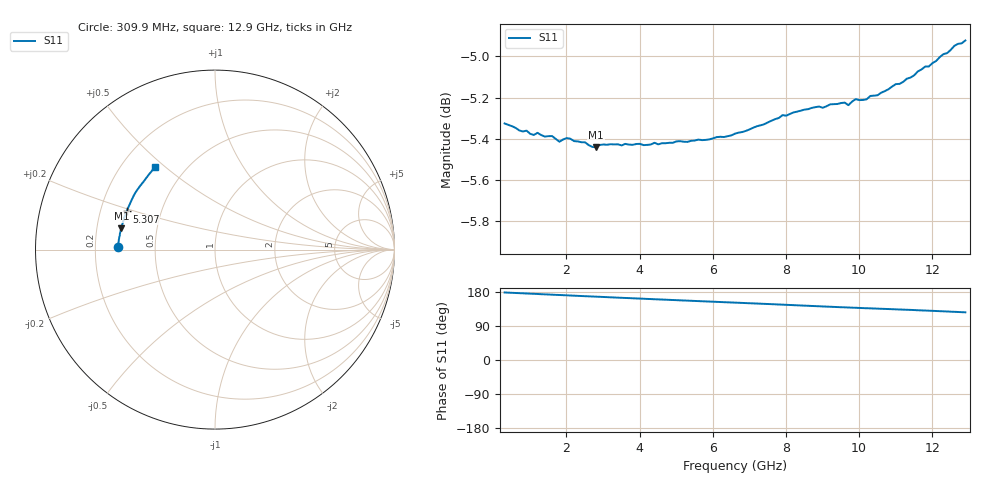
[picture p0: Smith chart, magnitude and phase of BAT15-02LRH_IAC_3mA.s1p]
! Infineon Technologies  Discrete & RF Semiconductors
! BAT15-02LRH
! IAC = 3 mA
! One-Port S-Parameters
# Hz  S  MA  R  50
!f  S11
!Hz  Mag  Ang
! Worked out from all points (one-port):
!   127 points, 309.9 MHz to 12.9 GHz, reference 50 ohm
!   lowest |S11| = -5.4 dB at 2.809 GHz (marker M1), VSWR 3.30, Z = 15.3 + j5.09 ohm
!   |S11| at or under -10 dB: nowhere
!   S11 on the Smith chart (normalised r, x): 309.9 MHz: 0.30, +0.01; 5.307 GHz: 0.31, +0.19; 12.9 GHz: 0.34, +0.46
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3.0985e8  0.5416 178.2
6.097e8  0.5403 176.8
1.10945e9  0.5381 174.7
1.2094e9  0.5388 174.2
1.70915e9  0.5369 171.9
1.90905e9  0.5368 171.1
2.50875e9  0.5359 168.4
2.8086e9  0.5345 167.2
2.90855e9  0.5351 166.8
3.50825e9  0.535 164.1
4.008e9  0.5355 162.1
5.10745e9  0.5363 157.4
5.30735e9  0.5361 156.7
6.6067e9  0.5385 151.4
7.6062e9  0.5424 147.3
8.2059e9  0.545 144.8
9.10545e9  0.5468 140.9
9.8051e9  0.5483 138.2
1.050475e10  0.5503 135.5
1.10045e10  0.5537 133.6
1.14043e10  0.5557 132.2
1.16042e10  0.5576 131.3
1.190405e10  0.5592 130.2
1.22039e10  0.5621 128.8
1.24038e10  0.5634 128.0
1.270365e10  0.5663 126.7
1.28036e10  0.5665 126.2
1.290355e10  0.5674 125.9
